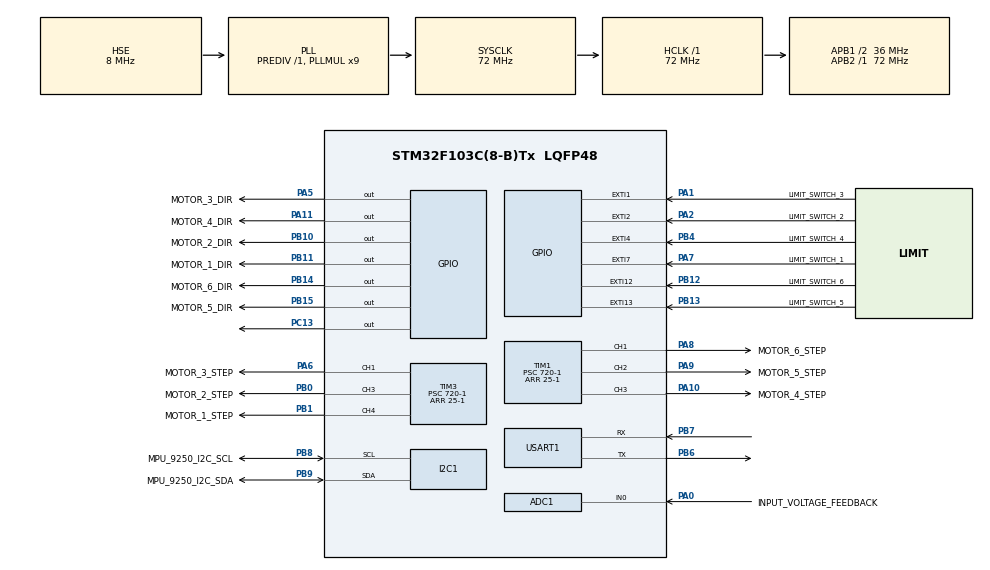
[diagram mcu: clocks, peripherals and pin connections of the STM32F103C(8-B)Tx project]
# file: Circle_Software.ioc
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ADC1.Channel-0\#ChannelRegularConversion=ADC_CHANNEL_0
ADC1.NbrOfConversionFlag=1
ADC1.Rank-0\#ChannelRegularConversion=1
ADC1.SamplingTime-0\#ChannelRegularConversion=ADC_SAMPLETIME_1CYCLE_5
ADC1.master=1
Mcu.Family=STM32F1
Mcu.Name=STM32F103C(8-B)Tx
Mcu.Package=LQFP48
NVIC.EXTI15_10_IRQn=true\:0\:0\:false\:false\:true\:true\:true
NVIC.EXTI1_IRQn=true\:0\:0\:false\:false\:true\:true\:true
NVIC.EXTI2_IRQn=true\:0\:0\:false\:false\:true\:true\:true
NVIC.EXTI4_IRQn=true\:0\:0\:false\:false\:true\:true\:true
NVIC.EXTI9_5_IRQn=true\:0\:0\:false\:false\:true\:true\:true
NVIC.PriorityGroup=NVIC_PRIORITYGROUP_4
PA0-WKUP.GPIO_Label=INPUT_VOLTAGE_FEEDBACK
PA0-WKUP.Signal=ADCx_IN0
PA1.GPIO_Label=LIMIT_SWITCH_3
PA1.GPIO_ModeDefaultEXTI=GPIO_MODE_IT_RISING_FALLING
PA1.GPIO_PuPd=GPIO_PULLDOWN
PA1.Signal=GPXTI1
PA10.GPIO_Label=MOTOR_4_STEP
PA10.Signal=S_TIM1_CH3
PA11.GPIO_Label=MOTOR_4_DIR
PA11.Signal=GPIO_Output
PA13.Mode=Serial_Wire
PA13.Signal=SYS_JTMS-SWDIO
PA14.Mode=Serial_Wire
PA14.Signal=SYS_JTCK-SWCLK
PA2.GPIO_Label=LIMIT_SWITCH_2
PA2.GPIO_ModeDefaultEXTI=GPIO_MODE_IT_RISING_FALLING
PA2.GPIO_PuPd=GPIO_PULLDOWN
PA2.Signal=GPXTI2
PA5.GPIO_Label=MOTOR_3_DIR
PA5.Signal=GPIO_Output
PA6.GPIO_Label=MOTOR_3_STEP
PA6.Signal=S_TIM3_CH1
PA7.GPIO_Label=LIMIT_SWITCH_1
PA7.GPIO_ModeDefaultEXTI=GPIO_MODE_IT_RISING_FALLING
PA7.GPIO_PuPd=GPIO_PULLDOWN
PA7.Signal=GPXTI7
PA8.GPIO_Label=MOTOR_6_STEP
PA8.Signal=S_TIM1_CH1
PA9.GPIO_Label=MOTOR_5_STEP
PA9.Signal=S_TIM1_CH2
PB0.GPIO_Label=MOTOR_2_STEP
PB0.Signal=S_TIM3_CH3
PB1.GPIO_Label=MOTOR_1_STEP
PB1.Signal=S_TIM3_CH4
PB10.GPIO_Label=MOTOR_2_DIR
PB10.Signal=GPIO_Output
PB11.GPIO_Label=MOTOR_1_DIR
PB11.Signal=GPIO_Output
PB12.GPIO_Label=LIMIT_SWITCH_6
PB12.GPIO_ModeDefaultEXTI=GPIO_MODE_IT_RISING_FALLING
PB12.GPIO_PuPd=GPIO_PULLDOWN
PB12.Signal=GPXTI12
PB13.GPIO_Label=LIMIT_SWITCH_5
PB13.GPIO_ModeDefaultEXTI=GPIO_MODE_IT_RISING_FALLING
PB13.GPIO_PuPd=GPIO_PULLDOWN
PB13.Signal=GPXTI13
PB14.GPIO_Label=MOTOR_6_DIR
PB14.Signal=GPIO_Output
PB15.GPIO_Label=MOTOR_5_DIR
PB15.Signal=GPIO_Output
PB4.GPIO_Label=LIMIT_SWITCH_4
PB4.GPIO_ModeDefaultEXTI=GPIO_MODE_IT_RISING_FALLING
PB4.GPIO_PuPd=GPIO_PULLDOWN
PB4.Signal=GPXTI4
PB6.Mode=Asynchronous
PB6.Signal=USART1_TX
PB7.Mode=Asynchronous
PB7.Signal=USART1_RX
PB8.GPIO_Label=MPU_9250_I2C_SCL
PB8.Mode=I2C
PB8.Signal=I2C1_SCL
PB9.GPIO_Label=MPU_9250_I2C_SDA
PB9.Mode=I2C
PB9.Signal=I2C1_SDA
PC13-TAMPER-RTC.Signal=GPIO_Output
PC14-OSC32_IN.Mode=LSE-External-Oscillator
PC14-OSC32_IN.Signal=RCC_OSC32_IN
PC15-OSC32_OUT.Mode=LSE-External-Oscillator
PC15-OSC32_OUT.Signal=RCC_OSC32_OUT
PD0-OSC_IN.Mode=HSE-External-Oscillator
PD0-OSC_IN.Signal=RCC_OSC_IN
PD1-OSC_OUT.Mode=HSE-External-Oscillator
PD1-OSC_OUT.Signal=RCC_OSC_OUT
ProjectManager.HeapSize=0x200
ProjectManager.StackSize=0x400
ProjectManager.TargetToolchain=STM32CubeIDE
RCC.ADCPresc=RCC_ADCPCLK2_DIV6
RCC.AHBFreq_Value=72000000
RCC.APB1CLKDivider=RCC_HCLK_DIV2
RCC.APB1Freq_Value=36000000
RCC.APB1TimFreq_Value=72000000
RCC.APB2Freq_Value=72000000
RCC.APB2TimFreq_Value=72000000
RCC.HCLKFreq_Value=72000000
RCC.PLLMUL=RCC_PLL_MUL9
RCC.PLLSourceVirtual=RCC_PLLSOURCE_HSE
RCC.SYSCLKFreq_VALUE=72000000
RCC.SYSCLKSource=RCC_SYSCLKSOURCE_PLLCLK
RCC.USBFreq_Value=72000000
SH.ADCx_IN0.0=ADC1_IN0,IN0
SH.S_TIM1_CH1.0=TIM1_CH1,PWM Generation1 CH1
SH.S_TIM1_CH2.0=TIM1_CH2,PWM Generation2 CH2
SH.S_TIM1_CH3.0=TIM1_CH3,PWM Generation3 CH3
SH.S_TIM3_CH1.0=TIM3_CH1,PWM Generation1 CH1
SH.S_TIM3_CH3.0=TIM3_CH3,PWM Generation3 CH3
SH.S_TIM3_CH4.0=TIM3_CH4,PWM Generation4 CH4
TIM1.Channel-PWM\ Generation1\ CH1=TIM_CHANNEL_1
TIM1.Channel-PWM\ Generation2\ CH2=TIM_CHANNEL_2
TIM1.Channel-PWM\ Generation3\ CH3=TIM_CHANNEL_3
TIM1.Period=25-1
TIM1.Prescaler=720-1
TIM1.Pulse-PWM\ Generation1\ CH1=18
TIM1.Pulse-PWM\ Generation2\ CH2=18
TIM1.Pulse-PWM\ Generation3\ CH3=18
TIM3.Channel-PWM\ Generation1\ CH1=TIM_CHANNEL_1
TIM3.Channel-PWM\ Generation3\ CH3=TIM_CHANNEL_3
TIM3.Channel-PWM\ Generation4\ CH4=TIM_CHANNEL_4
TIM3.Period=25-1
TIM3.Prescaler=720-1
TIM3.Pulse-PWM\ Generation1\ CH1=18
TIM3.Pulse-PWM\ Generation3\ CH3=18
TIM3.Pulse-PWM\ Generation4\ CH4=18
USART1.VirtualMode=VM_ASYNC
VP_TIM1_VS_ClockSourceINT.Mode=Internal
VP_TIM3_VS_ClockSourceINT.Mode=Internal
board=custom

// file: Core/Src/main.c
/* USER CODE BEGIN Header */
/**
  ******************************************************************************
  * @file           : main.c
  * @brief          : Main program body
  ******************************************************************************
  * @attention
  *
  * <h2><center>&copy; Copyright (c) 2021 STMicroelectronics.
  * All rights reserved.</center></h2>
  *
  * This software component is licensed by ST under BSD 3-Clause license,
  * the "License"; You may not use this file except in compliance with the
  * License. You may obtain a copy of the License at:
  *                        opensource.org/licenses/BSD-3-Clause
  *
  ******************************************************************************
  */
/* USER CODE END Header */
#include "main.h"
#include "adc.h"
#include "i2c.h"
#include "tim.h"
#include "usart.h"
#include "gpio.h"

/* USER CODE BEGIN Includes */
#include "mpu9250.h"
#include "steppermotorcontrol.h"

/* USER CODE END Includes */

void SystemClock_Config(void);

int main(void)
{
  /* USER CODE BEGIN 1 */

/*Test*/
char MPUStatus1[] = "MPU 9250 Connected\n";
char MPUStatus2[] = "MPU 9250 Not Connected\n";
char MPUStatus3[] = "MPU 9250 Error\n";

  /* USER CODE END 1 */

  /* MCU Configuration--------------------------------------------------------*/

  /* Reset of all peripherals, Initializes the Flash interface and the Systick. */
  HAL_Init();

  /* Configure the system clock */
  SystemClock_Config();

  /* Initialize all configured peripherals */
  MX_GPIO_Init();
  MX_I2C1_Init();
  MX_TIM3_Init();
  MX_TIM1_Init();
  MX_USART1_UART_Init();
  MX_ADC1_Init();
  /* USER CODE BEGIN 2 */

  /*Start Motor Timers*/
  HAL_TIM_PWM_Start(&htim3, TIM_CHANNEL_4);		/* Start timer of motor 1*/
  HAL_TIM_PWM_Start(&htim3, TIM_CHANNEL_3);		/* Start timer of motor 2*/
  HAL_TIM_PWM_Start(&htim3, TIM_CHANNEL_1);		/* Start timer of motor 3*/
  HAL_TIM_PWM_Start(&htim1, TIM_CHANNEL_3);		/* Start timer of motor 4*/
  HAL_TIM_PWM_Start(&htim1, TIM_CHANNEL_1);		/* Start timer of motor 6*/
  HAL_TIM_PWM_Start(&htim1, TIM_CHANNEL_2);		/* Start timer of motor 5*/

  /*Initialize Inertial Measurement Unit*/
  MPU9250Init();
  AK8963Init();
  /* USER CODE END 2 */

  /* Infinite loop */
  while (1)
  {

    /* USER CODE BEGIN 3 */

	  bool MPU9250Status = MPU9250IsConnected();

	  if (MPU9250Status == true)
	  {
		  HAL_UART_Transmit(&huart1, (uint8_t *)MPUStatus1, sizeof(MPUStatus1),100);
	  }

	  else if (MPU9250Status == false)
	  {
		  HAL_UART_Transmit(&huart1, (uint8_t *)MPUStatus2, sizeof(MPUStatus2),100);
	  }

	  else
	  {
		  HAL_UART_Transmit(&huart1, (uint8_t *)MPUStatus3, sizeof(MPUStatus3),100);
	  }

	  HAL_Delay(100);
  }
  /* USER CODE END 3 */
}

void SystemClock_Config(void)
{
  RCC_OscInitTypeDef RCC_OscInitStruct = {0};
  RCC_ClkInitTypeDef RCC_ClkInitStruct = {0};
  RCC_PeriphCLKInitTypeDef PeriphClkInit = {0};

  /** Initializes the RCC Oscillators according to the specified parameters
  * in the RCC_OscInitTypeDef structure.
  */
  RCC_OscInitStruct.OscillatorType = RCC_OSCILLATORTYPE_HSE;
  RCC_OscInitStruct.HSEState = RCC_HSE_ON;
  RCC_OscInitStruct.HSEPredivValue = RCC_HSE_PREDIV_DIV1;
  RCC_OscInitStruct.HSIState = RCC_HSI_ON;
  RCC_OscInitStruct.PLL.PLLState = RCC_PLL_ON;
  RCC_OscInitStruct.PLL.PLLSource = RCC_PLLSOURCE_HSE;
  RCC_OscInitStruct.PLL.PLLMUL = RCC_PLL_MUL9;
  if (HAL_RCC_OscConfig(&RCC_OscInitStruct) != HAL_OK)
  {
    Error_Handler();
  }
  /** Initializes the CPU, AHB and APB buses clocks
  */
  RCC_ClkInitStruct.ClockType = RCC_CLOCKTYPE_HCLK|RCC_CLOCKTYPE_SYSCLK
                              |RCC_CLOCKTYPE_PCLK1|RCC_CLOCKTYPE_PCLK2;
  RCC_ClkInitStruct.SYSCLKSource = RCC_SYSCLKSOURCE_PLLCLK;
  RCC_ClkInitStruct.AHBCLKDivider = RCC_SYSCLK_DIV1;
  RCC_ClkInitStruct.APB1CLKDivider = RCC_HCLK_DIV2;
  RCC_ClkInitStruct.APB2CLKDivider = RCC_HCLK_DIV1;

  if (HAL_RCC_ClockConfig(&RCC_ClkInitStruct, FLASH_LATENCY_2) != HAL_OK)
  {
    Error_Handler();
  }
  PeriphClkInit.PeriphClockSelection = RCC_PERIPHCLK_ADC;
  PeriphClkInit.AdcClockSelection = RCC_ADCPCLK2_DIV6;
  if (HAL_RCCEx_PeriphCLKConfig(&PeriphClkInit) != HAL_OK)
  {
    Error_Handler();
  }
}

/* USER CODE BEGIN 4 */
void HAL_UART_RxCpltCallback(UART_HandleTypeDef *huart)
{
	__NOP();
}

void HAL_GPIO_EXTI_Callback(uint16_t GPIO_Pin)			/*Callback Function for all the external interrupt functions for limit switches 1-6*/
{
	switch(GPIO_Pin)
	{
	case GPIO_PIN_7 : LimitSwitchStateDetect(1);		/* Limit Switch 1 State Update*/
					  break;

	case GPIO_PIN_2	: LimitSwitchStateDetect(2)	;		/* Limit Switch 2 State Update */
					  break;

	case GPIO_PIN_1	: LimitSwitchStateDetect(3)	;		/* Limit Switch 3 State Update */
					  break;

	case GPIO_PIN_4 : LimitSwitchStateDetect(4)	;		/* Limit Switch 4 State Update */
					  break;

	case GPIO_PIN_12: LimitSwitchStateDetect(5)	;		/* Limit Switch 5 State Update */
					  break;

	case GPIO_PIN_13: LimitSwitchStateDetect(6)	;		/* Limit Switch 6 State Update */
					  break;

	default: 		  break;

	}
}
/* USER CODE END 4 */

void Error_Handler(void)
{
  __disable_irq();
  while (1)
  {
  }
}

/************************ (C) COPYRIGHT STMicroelectronics *****END OF FILE****/
